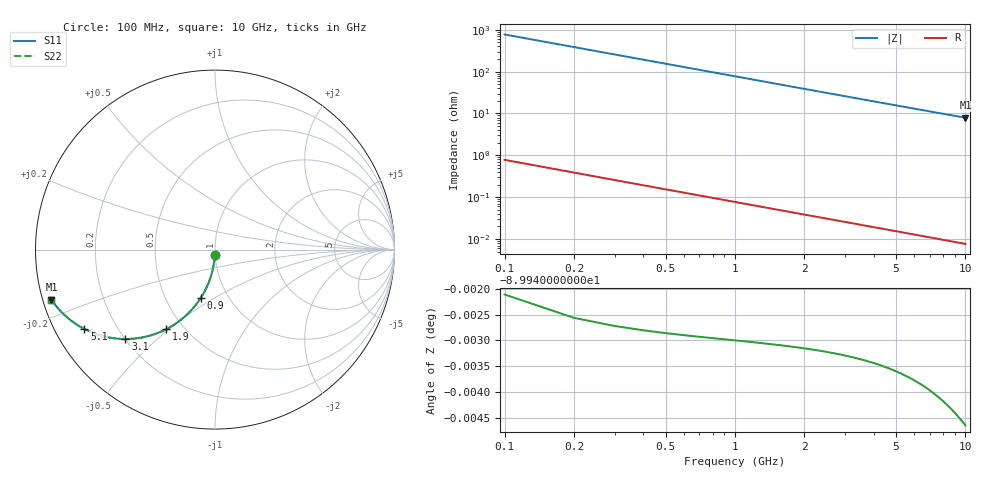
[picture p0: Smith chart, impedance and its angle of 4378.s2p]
# Hz S RI R 50.00
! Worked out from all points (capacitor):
!   100 points, 100 MHz to 10 GHz, reference 50 ohm
!   read as one part in shunt: C = 2.06 pF near 100 MHz
!   lowest |Z| = 7.91 ohm at 10 GHz (marker M1)
!   S11 on the Smith chart (normalised r, x): 100 MHz: 1.00, -0.06; 900 MHz: 0.75, -0.43; 1.9 GHz: 0.40, -0.49; 3.1 GHz: 0.20, -0.40; 5.1 GHz: 0.09, -0.28; 10 GHz: 0.02, -0.15
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1e8  -0.00107 -0.0323  0.9989 -0.0324  0.9989 -0.0324  -0.00107 -0.0323
2e8  -0.00423 -0.0644  0.9958 -0.0645  0.9958 -0.0645  -0.00423 -0.0644
3e8  -0.00942 -0.096  0.9906 -0.0963  0.9906 -0.0963  -0.00942 -0.096
4e8  -0.0166 -0.1271  0.9834 -0.1274  0.9834 -0.1274  -0.0166 -0.1271
5e8  -0.0256 -0.1574  0.9743 -0.1578  0.9743 -0.1578  -0.0256 -0.1574
6e8  -0.0365 -0.1867  0.9635 -0.1872  0.9635 -0.1872  -0.0365 -0.1867
7e8  -0.049 -0.215  0.951 -0.2156  0.951 -0.2156  -0.049 -0.215
9e8  -0.0783 -0.2678  0.9217 -0.2686  0.9217 -0.2686  -0.0783 -0.2678
1.1e9  -0.1125 -0.315  0.8875 -0.316  0.8875 -0.316  -0.1125 -0.315
1.3e9  -0.1503 -0.3563  0.8497 -0.3574  0.8497 -0.3574  -0.1503 -0.3563
1.5e9  -0.1904 -0.3915  0.8096 -0.3928  0.8096 -0.3928  -0.1904 -0.3915
1.8e9  -0.2527 -0.4333  0.7473 -0.4348  0.7473 -0.4348  -0.2527 -0.4333
1.9e9  -0.2736 -0.4445  0.7264 -0.4461  0.7264 -0.4461  -0.2736 -0.4445
2.5e9  -0.394 -0.4871  0.606 -0.4892  0.606 -0.4892  -0.394 -0.4871
3.1e9  -0.4993 -0.4982  0.5007 -0.5008  0.5007 -0.5008  -0.4993 -0.4982
3.4e9  -0.5451 -0.496  0.4549 -0.4989  0.4549 -0.4989  -0.5451 -0.496
4.2e9  -0.6458 -0.4759  0.3542 -0.4796  0.3542 -0.4796  -0.6458 -0.4759
5.1e9  -0.7283 -0.4421  0.2717 -0.4466  0.2717 -0.4466  -0.7283 -0.4421
5.9e9  -0.7817 -0.41  0.2183 -0.4152  0.2183 -0.4152  -0.7817 -0.41
6.7e9  -0.8217 -0.3793  0.1782 -0.3852  0.1782 -0.3852  -0.8217 -0.3793
8.4e9  -0.8785 -0.3225  0.1215 -0.33  0.1215 -0.33  -0.8785 -0.3225
1e10  -0.911 -0.2798  0.089 -0.2887  0.089 -0.2887  -0.911 -0.2798
